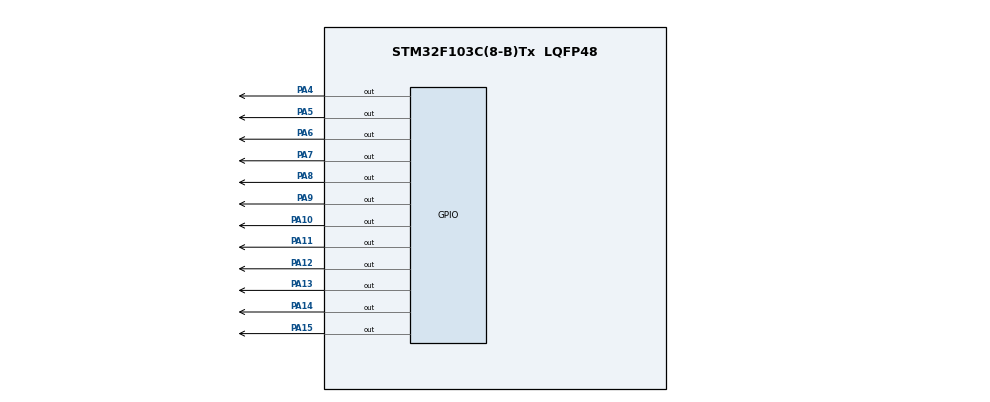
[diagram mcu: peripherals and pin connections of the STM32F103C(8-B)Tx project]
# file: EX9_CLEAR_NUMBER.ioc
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Mcu.Family=STM32F1
Mcu.Name=STM32F103C(8-B)Tx
Mcu.Package=LQFP48
NVIC.PriorityGroup=NVIC_PRIORITYGROUP_4
PA10.Signal=GPIO_Output
PA11.Signal=GPIO_Output
PA12.Signal=GPIO_Output
PA13.Signal=GPIO_Output
PA14.Signal=GPIO_Output
PA15.Signal=GPIO_Output
PA4.Signal=GPIO_Output
PA5.Signal=GPIO_Output
PA6.Signal=GPIO_Output
PA7.Signal=GPIO_Output
PA8.Signal=GPIO_Output
PA9.Signal=GPIO_Output
ProjectManager.HeapSize=0x200
ProjectManager.StackSize=0x400
ProjectManager.TargetToolchain=MDK-ARM V5.32
RCC.APB1Freq_Value=8000000
RCC.APB2Freq_Value=8000000
VP_SYS_VS_ND.Mode=No_Debug
board=custom

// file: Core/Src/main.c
/* USER CODE BEGIN Header */
/**
  ******************************************************************************
  * @file           : main.c
  * @brief          : Main program body
  ******************************************************************************
  * @attention
  *
  * Copyright (c) 2026 STMicroelectronics.
  * All rights reserved.
  *
  * This software is licensed under terms that can be found in the LICENSE file
  * in the root directory of this software component.
  * If no LICENSE file comes with this software, it is provided AS-IS.
  *
  ******************************************************************************
  */
/* USER CODE END Header */
#include "main.h"

/* USER CODE BEGIN PD */
#define ALL_CLOCK_LEDS (GPIO_PIN_4  | GPIO_PIN_5  | GPIO_PIN_6  | \
                        GPIO_PIN_7  | GPIO_PIN_8  | GPIO_PIN_9  | \
                        GPIO_PIN_10 | GPIO_PIN_11 | GPIO_PIN_12 | \
                        GPIO_PIN_13 | GPIO_PIN_14 | GPIO_PIN_15)
/* USER CODE END PD */

void SystemClock_Config(void);
static void MX_GPIO_Init(void);

/* USER CODE BEGIN 0 */
static const uint16_t clock_led[12] =
{
    GPIO_PIN_4,   // 0
    GPIO_PIN_5,   // 1
    GPIO_PIN_6,   // 2
    GPIO_PIN_7,   // 3
    GPIO_PIN_8,   // 4
    GPIO_PIN_9,   // 5
    GPIO_PIN_10,  // 6
    GPIO_PIN_11,  // 7
    GPIO_PIN_12,  // 8
    GPIO_PIN_13,  // 9
    GPIO_PIN_14,  // 10
    GPIO_PIN_15   // 11
};

void clearAllClock(void)
{
    HAL_GPIO_WritePin(
        GPIOA,
        ALL_CLOCK_LEDS,
        GPIO_PIN_RESET
    );
}

void setNumberOnClock(int num)
{
    if (num < 0 || num > 11)
    {
        return;
    }

    clearAllClock();

    HAL_GPIO_WritePin(
        GPIOA,
        clock_led[num],
        GPIO_PIN_SET
    );
}

void clearNumberOnClock(int num)
{
    if (num < 0 || num > 11)
    {
        return;
    }

    HAL_GPIO_WritePin(
        GPIOA,
        clock_led[num],
        GPIO_PIN_RESET
    );
}
/* USER CODE END 0 */

int main(void)
{

  /* MCU Configuration--------------------------------------------------------*/

  /* Reset of all peripherals, Initializes the Flash interface and the Systick. */
  HAL_Init();

  /* Configure the system clock */
  SystemClock_Config();

  /* Initialize all configured peripherals */
  MX_GPIO_Init();

  /* Infinite loop */
  while (1)
  {

    /* USER CODE BEGIN 3 */
		 int num;

        HAL_GPIO_WritePin(GPIOA, ALL_CLOCK_LEDS,GPIO_PIN_SET);

        HAL_Delay(1000);

        for (num = 0; num < 12; num++)
        {
            clearNumberOnClock(num);
            HAL_Delay(500);
        }

        HAL_Delay(1000);
  }
  /* USER CODE END 3 */
}

void SystemClock_Config(void)
{
  RCC_OscInitTypeDef RCC_OscInitStruct = {0};
  RCC_ClkInitTypeDef RCC_ClkInitStruct = {0};

  /** Initializes the RCC Oscillators according to the specified parameters
  * in the RCC_OscInitTypeDef structure.
  */
  RCC_OscInitStruct.OscillatorType = RCC_OSCILLATORTYPE_HSI;
  RCC_OscInitStruct.HSIState = RCC_HSI_ON;
  RCC_OscInitStruct.HSICalibrationValue = RCC_HSICALIBRATION_DEFAULT;
  RCC_OscInitStruct.PLL.PLLState = RCC_PLL_NONE;
  if (HAL_RCC_OscConfig(&RCC_OscInitStruct) != HAL_OK)
  {
    Error_Handler();
  }

  /** Initializes the CPU, AHB and APB buses clocks
  */
  RCC_ClkInitStruct.ClockType = RCC_CLOCKTYPE_HCLK|RCC_CLOCKTYPE_SYSCLK
                              |RCC_CLOCKTYPE_PCLK1|RCC_CLOCKTYPE_PCLK2;
  RCC_ClkInitStruct.SYSCLKSource = RCC_SYSCLKSOURCE_HSI;
  RCC_ClkInitStruct.AHBCLKDivider = RCC_SYSCLK_DIV1;
  RCC_ClkInitStruct.APB1CLKDivider = RCC_HCLK_DIV1;
  RCC_ClkInitStruct.APB2CLKDivider = RCC_HCLK_DIV1;

  if (HAL_RCC_ClockConfig(&RCC_ClkInitStruct, FLASH_LATENCY_0) != HAL_OK)
  {
    Error_Handler();
  }
}

static void MX_GPIO_Init(void)
{
  GPIO_InitTypeDef GPIO_InitStruct = {0};

  /* GPIO Ports Clock Enable */
  __HAL_RCC_GPIOA_CLK_ENABLE();

  /*Configure GPIO pin Output Level */
  HAL_GPIO_WritePin(GPIOA, GPIO_PIN_4|GPIO_PIN_5|GPIO_PIN_6|GPIO_PIN_7
                          |GPIO_PIN_8|GPIO_PIN_9|GPIO_PIN_10|GPIO_PIN_11
                          |GPIO_PIN_12|GPIO_PIN_13|GPIO_PIN_14|GPIO_PIN_15, GPIO_PIN_RESET);

  /*Configure GPIO pins : PA4 PA5 PA6 PA7
                           PA8 PA9 PA10 PA11
                           PA12 PA13 PA14 PA15 */
  GPIO_InitStruct.Pin = GPIO_PIN_4|GPIO_PIN_5|GPIO_PIN_6|GPIO_PIN_7
                          |GPIO_PIN_8|GPIO_PIN_9|GPIO_PIN_10|GPIO_PIN_11
                          |GPIO_PIN_12|GPIO_PIN_13|GPIO_PIN_14|GPIO_PIN_15;
  GPIO_InitStruct.Mode = GPIO_MODE_OUTPUT_PP;
  GPIO_InitStruct.Pull = GPIO_NOPULL;
  GPIO_InitStruct.Speed = GPIO_SPEED_FREQ_LOW;
  HAL_GPIO_Init(GPIOA, &GPIO_InitStruct);

}

void Error_Handler(void)
{
  __disable_irq();
  while (1)
  {
  }
}
